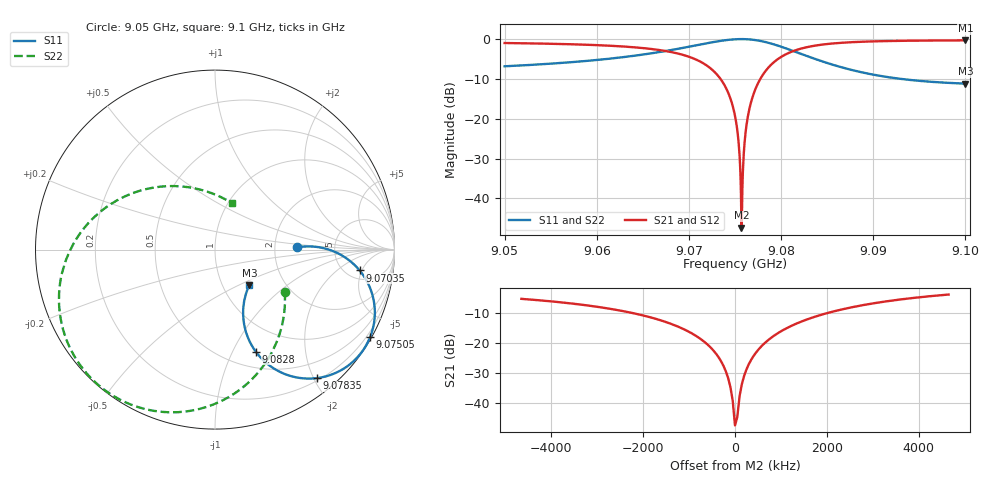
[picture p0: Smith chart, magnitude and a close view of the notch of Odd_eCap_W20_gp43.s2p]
! Sonnet Data File
! From: emgraph Version : 16.52
! From Emgraph Data: Resonator2_extremeCap
! Data File Written: 10/12/2017 21:58:49
!< HDATE 10/12/2017 14:18:48
!< MDATE 10/12/2017 14:18:48
!< PARAMS
!< Pwid1 = 2000.0
!< Air_gap = 12.0
!< Width = 20.0
!< Gap = 43.0
!< END PARAMS
# GHZ S MA R 40.13000
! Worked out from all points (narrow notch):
!   1001 points, 9.05 GHz to 9.1 GHz, reference 40.13 ohm
!   highest |S21| = -0.34 dB at 9.1 GHz (marker M1); lowest = -47.3 dB at 9.0757 GHz (marker M2)
!   notch at M2: 45.9 dB deep, 777 kHz wide at half that depth
!   lowest |S11| = -11.2 dB at 9.1 GHz (marker M3), VSWR 1.76, Z = 53.5 - j23 ohm
!   |S11| at or under -10 dB: 9.092956 GHz to end of sweep
!   |S22| runs from -11.2 to 0.0 dB; largest |S21 - S12| = 0
!   S11 on the Smith chart (normalised r, x): 9.05 GHz: 2.66, +0.08; 9.07035 GHz: 6.59, -4.53; 9.07505 GHz: 0.06, -3.80; 9.07835 GHz: 0.24, -2.04; 9.0828 GHz: 0.68, -1.23; 9.1 GHz: 1.33, -0.57
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9.05  0.4545 1.5  0.8906 -104.8  0.8906 -104.8  0.4543 -31.2
!< P1 F=9.05 Eeff=(5.25062775 -2.3085e-5) Z0=(40.1198215 8.9481e-5) R=0.0 C=0.0
!< P2 F=9.05 Eeff=(5.25062775 -2.3085e-5) Z0=(40.1198215 8.9481e-5) R=0.0 C=0.0
9.05835  0.5243 1.9  0.8513 -110.3  0.8513 -110.3  0.5239 -42.6
9.0667  0.6829 -1.6  0.7296 -123.1  0.7296 -123.1  0.6822 -64.8
9.07035  0.8141 -8.2  0.5787 -135.3  0.5787 -135.3  0.813 -82.9
9.0734  0.9458 -19.9  0.3187 -152.7  0.3187 -152.7  0.9443 -106.4
9.07435  0.9775 -25.1  0.2 -159.6  0.2 -159.6  0.9759 -115.8
9.075  0.9917 -29.2  0.1086 -164.4  0.1086 -164.4  0.99 -122.8
9.07505  0.9925 -29.5  0.1013 -164.7  0.1013 -164.7  0.9908 -123.4
9.0753  0.9955 -31.1  0.06407 -165.8  0.06407 -165.8  0.9938 -126.2
9.07555  0.9972 -32.8  0.02616 -163.9  0.02616 -163.9  0.9954 -129.0
9.0757  0.9975 -33.8  0.004291 -123.2  0.004291 -123.2  0.9957 -130.8
9.0759  0.9971 -35.2  0.02856 -0.7  0.02856 -0.7  0.9953 -133.1
9.0762  0.9946 -37.2  0.07568 0.5  0.07568 0.5  0.9928 -136.7
9.0766  0.9877 -40.0  0.139 -2.1  0.139 -2.1  0.9859 -141.5
9.0773  0.966 -44.8  0.2484 -8.2  0.2484 -8.2  0.9642 -150.0
9.07835  0.9133 -51.6  0.4014 -17.6  0.4014 -17.6  0.9114 -162.5
9.08055  0.7612 -62.6  0.6457 -34.8  0.6457 -34.8  0.7595 173.5
9.0828  0.6114 -68.2  0.7897 -47.7  0.7897 -47.7  0.6099 153.2
9.08335  0.5801 -68.9  0.8131 -50.2  0.8131 -50.2  0.5786 148.8
9.08715  0.4233 -68.0  0.9053 -62.6  0.9053 -62.6  0.4222 123.0
9.0917  0.331 -60.6  0.9433 -70.8  0.9433 -70.8  0.3302 99.2
9.1  0.2756 -46.0  0.9611 -78.3  0.9611 -78.3  0.2751 69.5
